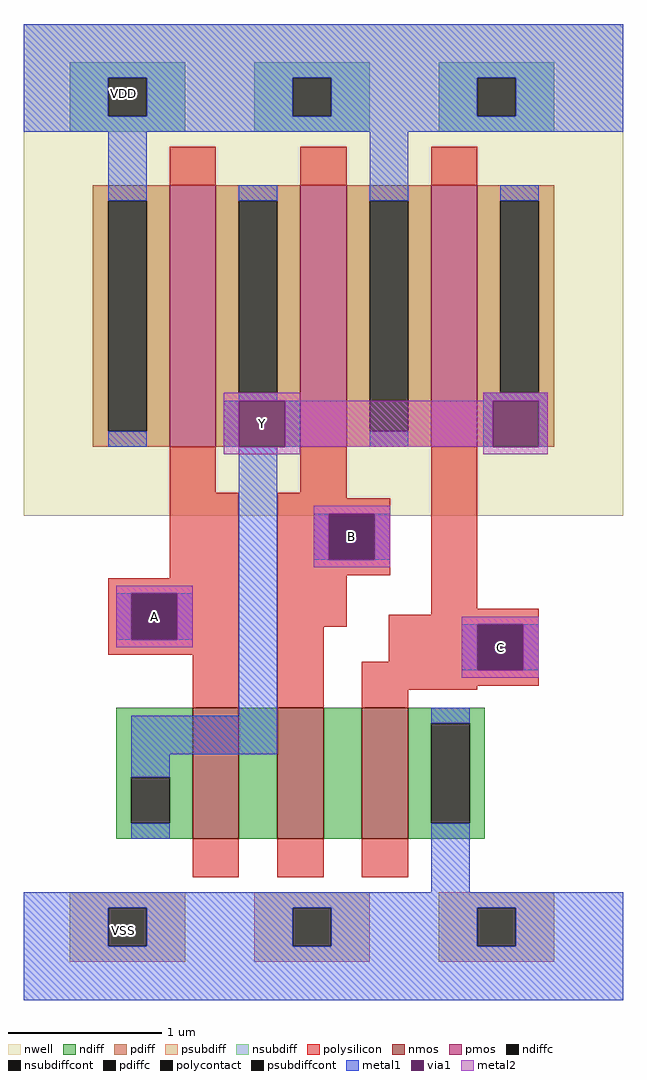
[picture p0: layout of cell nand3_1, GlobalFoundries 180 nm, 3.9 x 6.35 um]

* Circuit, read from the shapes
.subckt nand3_1 A B Y VDD VSS C
XM1 n1 A Y VSS nfet_03v3 w=0.85u l=0.3u
XM2 n2 B n1 VSS nfet_03v3 w=0.85u l=0.3u
XM3 VSS C n2 VSS nfet_03v3 w=0.85u l=0.3u
XM4 Y A VDD VDD pfet_03v3 w=1.7u l=0.3u
XM5 VDD B Y VDD pfet_03v3 w=1.7u l=0.3u
XM6 Y C VDD VDD pfet_03v3 w=1.7u l=0.3u
.ends

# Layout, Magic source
magic
tech gf180mcuD
magscale 1 10
<< nwell >>
rect 0 630 780 1270
<< nmos >>
rect 220 210 280 380
rect 330 210 390 380
rect 440 210 500 380
<< pmos >>
rect 190 720 250 1060
rect 360 720 420 1060
rect 530 720 590 1060
<< ndiff >>
rect 120 290 220 380
rect 120 230 140 290
rect 190 230 220 290
rect 120 210 220 230
rect 280 210 330 380
rect 390 210 440 380
rect 500 360 600 380
rect 500 230 530 360
rect 580 230 600 360
rect 500 210 600 230
<< pdiff >>
rect 90 1040 190 1060
rect 90 740 110 1040
rect 160 740 190 1040
rect 90 720 190 740
rect 250 1040 360 1060
rect 250 790 280 1040
rect 330 790 360 1040
rect 250 720 360 790
rect 420 1040 530 1060
rect 420 740 450 1040
rect 500 740 530 1040
rect 420 720 530 740
rect 590 1040 690 1060
rect 590 790 620 1040
rect 670 790 690 1040
rect 590 720 690 790
<< ndiffc >>
rect 140 230 190 290
rect 530 230 580 360
<< pdiffc >>
rect 110 740 160 1040
rect 280 790 330 1040
rect 450 740 500 1040
rect 620 790 670 1040
<< psubdiff >>
rect 60 120 210 140
rect 60 70 110 120
rect 160 70 210 120
rect 60 50 210 70
rect 300 120 450 140
rect 300 70 350 120
rect 400 70 450 120
rect 300 50 450 70
rect 540 120 690 140
rect 540 70 590 120
rect 640 70 690 120
rect 540 50 690 70
<< nsubdiff >>
rect 60 1200 210 1220
rect 60 1150 110 1200
rect 160 1150 210 1200
rect 60 1130 210 1150
rect 300 1200 450 1220
rect 300 1150 350 1200
rect 400 1150 450 1200
rect 300 1130 450 1150
rect 540 1200 690 1220
rect 540 1150 590 1200
rect 640 1150 690 1200
rect 540 1130 690 1150
<< psubdiffcont >>
rect 110 70 160 120
rect 350 70 400 120
rect 590 70 640 120
<< nsubdiffcont >>
rect 110 1150 160 1200
rect 350 1150 400 1200
rect 590 1150 640 1200
<< polysilicon >>
rect 190 1060 250 1110
rect 360 1060 420 1110
rect 530 1060 590 1110
rect 190 660 250 720
rect 360 660 420 720
rect 190 549 280 660
rect 110 529 280 549
rect 110 469 140 529
rect 200 469 280 529
rect 110 449 280 469
rect 220 380 280 449
rect 330 653 420 660
rect 330 633 477 653
rect 330 573 397 633
rect 457 573 477 633
rect 330 553 477 573
rect 330 486 420 553
rect 530 509 590 720
rect 530 501 670 509
rect 475 489 670 501
rect 330 380 390 486
rect 475 440 590 489
rect 440 429 590 440
rect 650 429 670 489
rect 440 409 670 429
rect 440 404 590 409
rect 440 380 500 404
rect 220 160 280 210
rect 330 160 390 210
rect 440 160 500 210
<< polycontact >>
rect 140 469 200 529
rect 397 573 457 633
rect 590 429 650 489
<< metal1 >>
rect 0 1200 780 1270
rect 0 1150 110 1200
rect 160 1150 350 1200
rect 400 1150 590 1200
rect 640 1150 780 1200
rect 0 1130 780 1150
rect 110 1040 160 1130
rect 280 1040 330 1060
rect 280 780 330 790
rect 450 1040 500 1130
rect 110 720 160 740
rect 260 720 280 780
rect 340 720 360 780
rect 620 1040 670 1060
rect 450 720 500 740
rect 598 780 682 790
rect 598 720 610 780
rect 670 720 682 780
rect 120 469 140 529
rect 200 469 220 529
rect 280 370 330 720
rect 377 573 397 633
rect 457 573 477 633
rect 570 429 590 489
rect 650 429 670 489
rect 140 320 330 370
rect 530 360 580 380
rect 140 290 190 320
rect 140 210 190 230
rect 530 140 580 230
rect 0 120 780 140
rect 0 70 110 120
rect 160 70 350 120
rect 400 70 590 120
rect 640 70 780 120
rect 0 0 780 70
<< via1 >>
rect 280 720 340 780
rect 610 720 670 780
rect 140 469 200 529
rect 397 573 457 633
rect 590 429 650 489
<< metal2 >>
rect 260 780 360 790
rect 598 780 682 790
rect 260 720 280 780
rect 340 720 610 780
rect 670 720 682 780
rect 260 710 360 720
rect 598 710 682 720
rect 377 633 477 643
rect 377 573 397 633
rect 457 573 477 633
rect 377 563 477 573
rect 120 529 220 539
rect 120 469 140 529
rect 200 469 220 529
rect 120 459 220 469
rect 570 489 670 499
rect 570 429 590 489
rect 650 429 670 489
rect 570 419 670 429
<< labels >>
rlabel metal2 310 750 310 750 1 Y
port 3 n
rlabel metal1 130 1180 130 1180 1 VDD
port 4 n
rlabel metal1 130 90 130 90 1 VSS
port 5 n
rlabel via1 170 499 170 499 1 A
port 1 n
rlabel via1 427 603 427 603 1 B
port 2 n
rlabel via1 620 459 620 459 1 C
port 6 n
<< end >>
